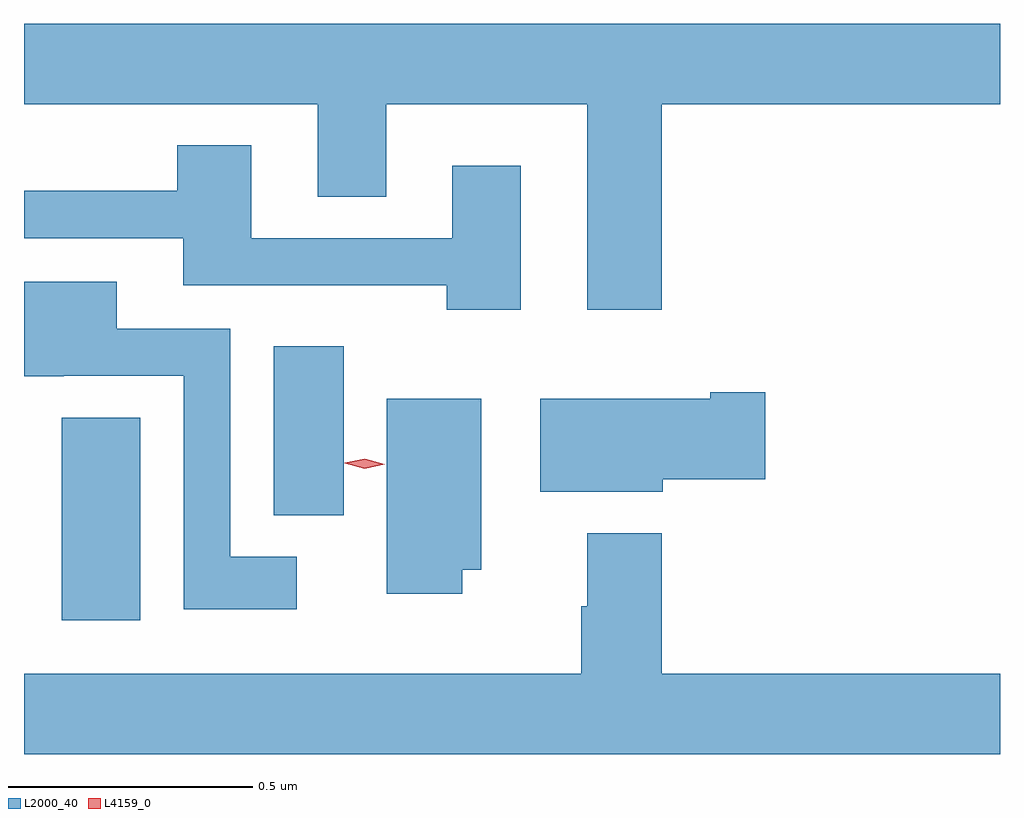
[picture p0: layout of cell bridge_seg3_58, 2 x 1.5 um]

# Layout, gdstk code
import gdstk
lib = gdstk.Library(unit=1e-6, precision=1e-09)
def R(c, l, rs):  # rectangles x0, y0, x1, y1
    for r in rs: c.add(gdstk.rectangle(r[:2], r[2:], *l))
def P(c, l, *ps):  # polygons
    for p in ps: c.add(gdstk.Polygon(p, *l))
L2000_40 = (2000, 40)
L4159_0 = (4159, 0)

bridge_seg3_58 = lib.new_cell('bridge_seg3_58')
R(bridge_seg3_58, L2000_40, [(620.906,702.522,621.067,702.937), (621.341,702.737,621.484,703.084)])
P(bridge_seg3_58, L2000_40, [(622.136,703.58),(622.829,703.58),(622.829,703.744),(620.829,703.744),(620.829,703.58),(621.431,703.58),(621.431,703.39),(621.571,703.39),(621.571,703.58),(621.983,703.58),(621.983,703.158),(622.136,703.158)],
  [(621.847,703.453),(621.707,703.453),(621.707,703.305),(621.295,703.305),(621.295,703.495),(621.143,703.495),(621.143,703.402),(620.829,703.402),(620.829,703.305),(621.155,703.305),(621.155,703.209),(621.695,703.209),(621.695,703.158),(621.847,703.158)],
  [(621.388,702.652),(621.252,702.652),(621.252,703.119),(621.019,703.119),(621.019,703.216),(620.829,703.216),(620.829,703.022),(620.91,703.022),(620.91,703.023),(621.156,703.023),(621.156,702.545),(621.388,702.545)],
  [(622.138,702.811),(622.348,702.811),(622.348,702.989),(622.235,702.989),(622.235,702.976),(621.887,702.976),(621.887,702.785),(622.138,702.785)],
  [(621.727,702.626),(621.766,702.626),(621.766,702.976),(621.572,702.976),(621.572,702.576),(621.727,702.576)],
  [(622.829,702.412),(622.136,702.412),(622.136,702.7),(621.983,702.7),(621.983,702.551),(621.971,702.551),(621.971,702.412),(620.829,702.412),(620.829,702.248),(622.829,702.248)])
P(bridge_seg3_58, L4159_0, [(621.527,702.833),(621.486,702.844),(621.486,702.844),(621.486,702.845),(621.527,702.853),(621.568,702.842),(621.568,702.842),(621.568,702.842)])

lib.write_gds('bridge_seg3_58.gds')
